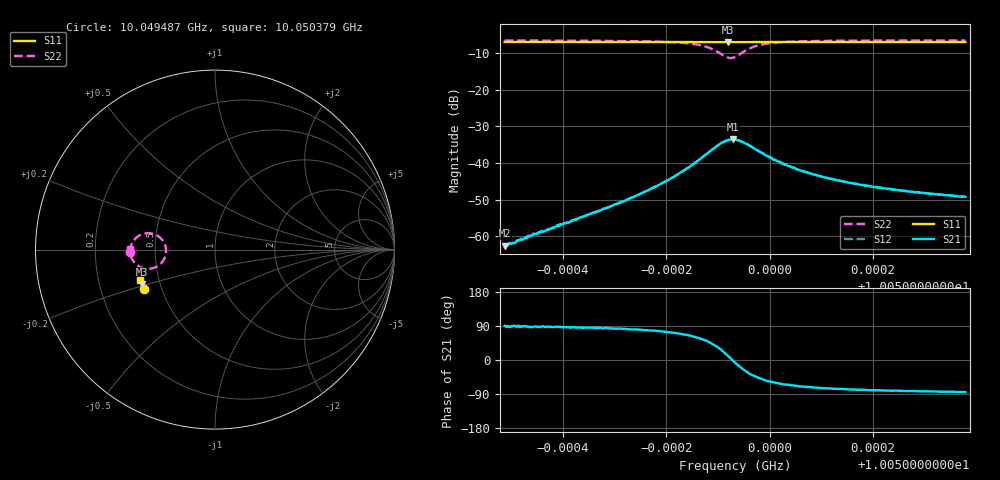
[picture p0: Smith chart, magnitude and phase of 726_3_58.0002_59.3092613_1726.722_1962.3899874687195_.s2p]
#  HZ  S  RI  R  50.00
! Rohde & Schwarz Vector Network Analyzer
! Rohde-Schwarz,ZNB20-2Port,1311601062101988,3.16
! Created: UTC 3/21/2024, 1:22:54 AM
! freq[Hz]  re:S11  im:S11  re:S21  im:S21  re:S12  im:S12  re:S22  im:S22
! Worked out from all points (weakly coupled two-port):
!   401 points, 10.049487 GHz to 10.050379 GHz, reference 50 ohm
!   highest |S21| = -33.52 dB at 10.049929 GHz (marker M1); lowest = -62.7 dB at 10.049487 GHz (marker M2)
!   lowest |S11| = -6.9 dB at 10.04992 GHz (marker M3), VSWR 2.64, Z = 19.8 - j9.6 ohm
!   |S11| at or under -10 dB: nowhere
!   |S22| runs from -11.3 to -6.5 dB; largest |S21 - S12| = 0.0016
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1.00494868e10  -0.3968 -0.2204  -4.89e-07 0.000735  -2.58e-05 0.000726  -0.4736 -0.0115
1.00495047e10  -0.3973 -0.2192  -1.44e-05 0.000795  -3.36e-05 0.000846  -0.4736 -0.00961
1.00495381e10  -0.3984 -0.2173  6.36e-05 0.000995  -2.42e-05 0.00101  -0.4733 -0.00563
1.00496363e10  -0.4013 -0.2112  0.000147 0.0018  4.16e-05 0.00183  -0.471 0.00841
1.00497099e10  -0.4034 -0.2069  0.000364 0.00282  0.00024 0.00288  -0.467 0.0229
1.00497857e10  -0.4055 -0.202  0.0012 0.00486  0.000941 0.00494  -0.4559 0.0461
1.00498281e10  -0.4066 -0.1993  0.00266 0.00693  0.00228 0.00706  -0.4385 0.0664
1.00498683e10  -0.4072 -0.1965  0.00671 0.00963  0.00612 0.00998  -0.3962 0.0888
1.00498839e10  -0.4074 -0.1955  0.00996 0.0105  0.0092 0.0109  -0.364 0.0915
1.00498973e10  -0.4073 -0.1946  0.0138 0.00991  0.0131 0.0105  -0.328 0.0815
1.00499196e10  -0.407 -0.1937  0.0202 0.00382  0.0197 0.00504  -0.2758 0.0167
1.00499285e10  -0.4071 -0.1938  0.0211 -0.000428  0.0208 0.00111  -0.2738 -0.0226
1.0049933e10  -0.4072 -0.1937  0.0208 -0.00241  0.0208 -0.000935  -0.2786 -0.0417
1.00499419e10  -0.4076 -0.1936  0.0193 -0.00596  0.0196 -0.00466  -0.2978 -0.0736
1.00499553e10  -0.4082 -0.1932  0.0155 -0.00934  0.0163 -0.00826  -0.337 -0.1008
1.00499687e10  -0.4089 -0.1927  0.0121 -0.0105  0.0128 -0.00976  -0.3732 -0.1073
1.00499865e10  -0.4098 -0.1916  0.00858 -0.0106  0.00912 -0.0101  -0.408 -0.1006
1.00500267e10  -0.4113 -0.1892  0.00419 -0.00882  0.00484 -0.00856  -0.4459 -0.0749
1.00500824e10  -0.413 -0.1856  0.00214 -0.00673  0.00258 -0.0066  -0.4635 -0.0485
1.00501471e10  -0.4148 -0.1816  0.00121 -0.00536  0.00156 -0.0053  -0.4702 -0.0298
1.00502319e10  -0.4168 -0.1763  0.0007 -0.00434  0.000982 -0.00434  -0.4736 -0.0137
1.00503791e10  -0.4204 -0.1671  0.000303 -0.00343  0.000547 -0.00344  -0.4752 0.00551
